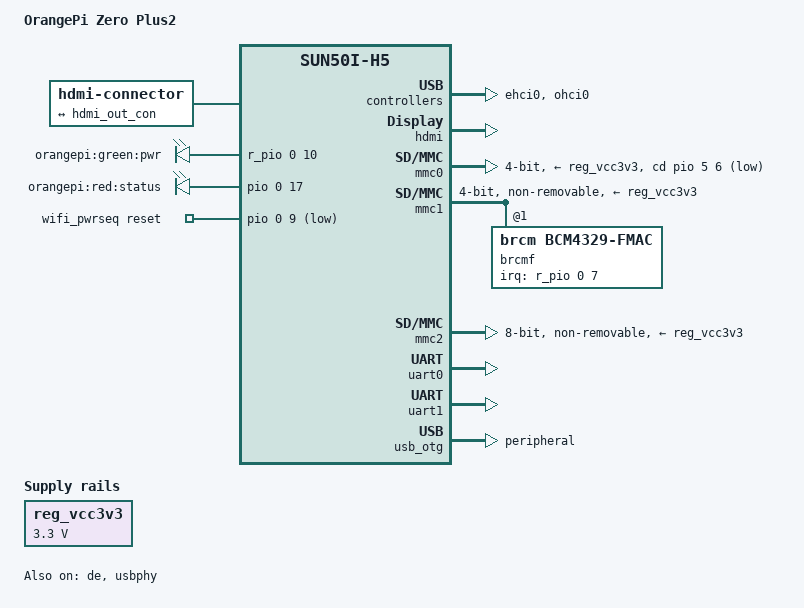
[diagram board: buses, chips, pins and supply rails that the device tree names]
// SPDX-License-Identifier: (GPL-2.0+ OR MIT)
// Copyright (C) 2017 Jagan Teki <jteki@openedev.com>

/dts-v1/;

#include "sun50i-h5.dtsi"

#include <dt-bindings/gpio/gpio.h>

/ {
	model = "OrangePi Zero Plus2";
	compatible = "xunlong,orangepi-zero-plus2", "allwinner,sun50i-h5";

	aliases {
		serial0 = &uart0;
	};

	chosen {
		stdout-path = "serial0:115200n8";
	};

	connector {
		compatible = "hdmi-connector";
		type = "a";

		port {
			hdmi_con_in: endpoint {
				remote-endpoint = <&hdmi_out_con>;
			};
		};
	};

	leds {
		compatible = "gpio-leds";

		led-0 {
			label = "orangepi:green:pwr";
			gpios = <&r_pio 0 10 GPIO_ACTIVE_HIGH>;
			default-state = "on";
		};

		led-1 {
			label = "orangepi:red:status";
			gpios = <&pio 0 17 GPIO_ACTIVE_HIGH>;
		};
	};

	reg_vcc3v3: vcc3v3 {
		compatible = "regulator-fixed";
		regulator-name = "vcc3v3";
		regulator-min-microvolt = <3300000>;
		regulator-max-microvolt = <3300000>;
	};

	wifi_pwrseq: pwrseq {
		compatible = "mmc-pwrseq-simple";
		reset-gpios = <&pio 0 9 GPIO_ACTIVE_LOW>; /* PA9 */
		post-power-on-delay-ms = <200>;
	};
};

&de {
	status = "okay";
};

&ehci0 {
	status = "okay";
};

&hdmi {
	status = "okay";
};

&hdmi_out {
	hdmi_out_con: endpoint {
		remote-endpoint = <&hdmi_con_in>;
	};
};

&mmc0 {
	vmmc-supply = <&reg_vcc3v3>;
	bus-width = <4>;
	cd-gpios = <&pio 5 6 GPIO_ACTIVE_LOW>;
	status = "okay";
};

&mmc1 {
	vmmc-supply = <&reg_vcc3v3>;
	vqmmc-supply = <&reg_vcc3v3>;
	mmc-pwrseq = <&wifi_pwrseq>;
	bus-width = <4>;
	non-removable;
	status = "okay";

	brcmf: wifi@1 {
		reg = <1>;
		compatible = "brcm,bcm4329-fmac";
		interrupt-parent = <&r_pio>;
		interrupts = <0 7 IRQ_TYPE_LEVEL_LOW>;	/* PL7 */
		interrupt-names = "host-wake";
	};
};

&mmc2 {
	pinctrl-names = "default";
	pinctrl-0 = <&mmc2_8bit_pins>;
	vmmc-supply = <&reg_vcc3v3>;
	bus-width = <8>;
	non-removable;
	cap-mmc-hw-reset;
	status = "okay";
};

&ohci0 {
	status = "okay";
};

&uart0 {
	pinctrl-names = "default";
	pinctrl-0 = <&uart0_pa_pins>;
	status = "okay";
};

&uart1 {
	pinctrl-names = "default";
	pinctrl-0 = <&uart1_pins>, <&uart1_rts_cts_pins>;
	status = "okay";
};

&usb_otg {
	/*
	 * According to schematics CN1 MicroUSB port can be used to take
	 * external 5V to power up the board VBUS. On the contrary CN1 MicroUSB
	 * port cannot provide power externally even if the board is powered
	 * via GPIO pins. It thus makes sense to force peripheral mode.
	 */
	dr_mode = "peripheral";
	status = "okay";
};

&usbphy {
	status = "okay";
};
